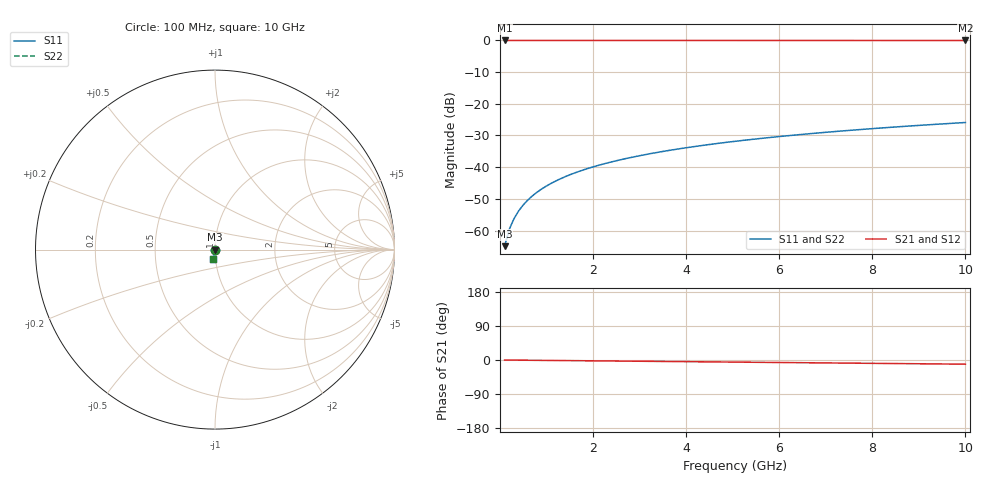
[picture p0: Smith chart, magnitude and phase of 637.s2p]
# Hz S RI R 50.00
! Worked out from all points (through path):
!   100 points, 100 MHz to 10 GHz, reference 50 ohm
!   highest |S21| = 0.00 dB at 100 MHz (marker M1); lowest = 0.0 dB at 10 GHz (marker M2)
!   group delay of S21, straight-line fit = 3.07 ps
!   lowest |S11| = -64.9 dB at 100 MHz (marker M3), VSWR 1.00, Z = 50 - j0.0504 ohm
!   |S11| at or under -10 dB: start of sweep to end of sweep
!   |S22| runs from -64.9 to -25.9 dB; largest |S21 - S12| = 0
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1e8  0.000258 -0.000504  0.9997 -0.00191  0.9997 -0.00191  0.000258 -0.000504
2e8  0.000255 -0.00101  0.9997 -0.00381  0.9997 -0.00381  0.000255 -0.00101
3e8  0.000251 -0.00151  0.9997 -0.00572  0.9997 -0.00572  0.000251 -0.00151
4e8  0.000244 -0.00202  0.9997 -0.00763  0.9997 -0.00763  0.000244 -0.00202
5e8  0.000235 -0.00252  0.9997 -0.00954  0.9997 -0.00954  0.000235 -0.00252
6e8  0.000224 -0.00303  0.9997 -0.0114  0.9997 -0.0114  0.000224 -0.00303
7e8  0.000211 -0.00353  0.9996 -0.0134  0.9996 -0.0134  0.000211 -0.00353
8e8  0.000196 -0.00403  0.9996 -0.0153  0.9996 -0.0153  0.000196 -0.00403
9e8  0.000179 -0.00454  0.9996 -0.0172  0.9996 -0.0172  0.000179 -0.00454
1.1e9  0.00014 -0.00555  0.9995 -0.021  0.9995 -0.021  0.00014 -0.00555
1.4e9  6.56e-05 -0.00706  0.9993 -0.0267  0.9993 -0.0267  6.56e-05 -0.00706
1.8e9  -6.06e-05 -0.00908  0.9991 -0.0344  0.9991 -0.0344  -6.06e-05 -0.00908
2.1e9  -0.000176 -0.0106  0.9988 -0.0401  0.9988 -0.0401  -0.000176 -0.0106
2.5e9  -0.000356 -0.0126  0.9985 -0.0477  0.9985 -0.0477  -0.000356 -0.0126
2.9e9  -0.000568 -0.0146  0.998 -0.0554  0.998 -0.0554  -0.000568 -0.0146
3.4e9  -0.000878 -0.0172  0.9974 -0.0649  0.9974 -0.0649  -0.000878 -0.0172
4.2e9  -0.00147 -0.0212  0.9962 -0.0803  0.9962 -0.0803  -0.00147 -0.0212
5.1e9  -0.00229 -0.0257  0.9946 -0.0975  0.9946 -0.0975  -0.00229 -0.0257
5.9e9  -0.00316 -0.0297  0.9928 -0.1128  0.9928 -0.1128  -0.00316 -0.0297
6.7e9  -0.00414 -0.0337  0.9908 -0.1281  0.9908 -0.1281  -0.00414 -0.0337
8.4e9  -0.00665 -0.0421  0.9857 -0.1607  0.9857 -0.1607  -0.00665 -0.0421
1e10  -0.00952 -0.0497  0.9798 -0.1912  0.9798 -0.1912  -0.00952 -0.0497
